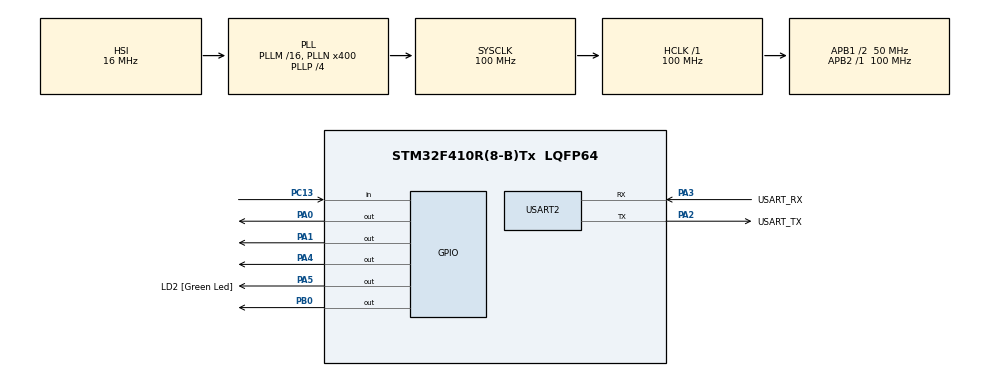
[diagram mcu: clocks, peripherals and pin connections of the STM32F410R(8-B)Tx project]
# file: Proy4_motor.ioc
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Mcu.Family=STM32F4
Mcu.Name=STM32F410R(8-B)Tx
Mcu.Package=LQFP64
NVIC.PriorityGroup=NVIC_PRIORITYGROUP_0
PA0-WKUP.Signal=GPIO_Output
PA1.Signal=GPIO_Output
PA13.GPIO_Label=TMS
PA13.Mode=Serial_Wire
PA13.Signal=SYS_JTMS-SWDIO
PA14.GPIO_Label=TCK
PA14.Mode=Serial_Wire
PA14.Signal=SYS_JTCK-SWCLK
PA2.GPIO_Label=USART_TX
PA2.Mode=Asynchronous
PA2.Signal=USART2_TX
PA3.GPIO_Label=USART_RX
PA3.Mode=Asynchronous
PA3.Signal=USART2_RX
PA4.Signal=GPIO_Output
PA5.GPIO_Label=LD2 [Green Led]
PA5.Signal=GPIO_Output
PB0.Signal=GPIO_Output
PB3.GPIO_Label=SWO
PB3.Signal=SYS_JTDO-SWO
PC13-ANTI_TAMP.Signal=GPIO_Input
PC14-OSC32_IN.Mode=LSE-External-Oscillator
PC14-OSC32_IN.Signal=RCC_OSC32_IN
PC15-OSC32_OUT.Mode=LSE-External-Oscillator
PC15-OSC32_OUT.Signal=RCC_OSC32_OUT
PH0\ -\ OSC_IN.Mode=HSE-External-Clock-Source
PH0\ -\ OSC_IN.Signal=RCC_OSC_IN
PH1\ -\ OSC_OUT.Mode=HSE-External-Clock-Source
PH1\ -\ OSC_OUT.Signal=RCC_OSC_OUT
ProjectManager.HeapSize=0x200
ProjectManager.StackSize=0x400
ProjectManager.TargetToolchain=STM32CubeIDE
RCC.48MHZClocksFreq_Value=100000000
RCC.AHBFreq_Value=100000000
RCC.APB1CLKDivider=RCC_HCLK_DIV2
RCC.APB1Freq_Value=50000000
RCC.APB1TimFreq_Value=100000000
RCC.APB2Freq_Value=100000000
RCC.APB2TimFreq_Value=100000000
RCC.CortexFreq_Value=100000000
RCC.FLatency-AdvancedSettings=FLASH_LATENCY_3
RCC.HCLKFreq_Value=100000000
RCC.HSE_VALUE=8000000
RCC.HSI_VALUE=16000000
RCC.PLLN=400
RCC.PLLP=RCC_PLLP_DIV4
RCC.SYSCLKFreq_VALUE=100000000
RCC.SYSCLKSource=RCC_SYSCLKSOURCE_PLLCLK
RCC.VCOOutputFreq_Value=400000000
USART2.VirtualMode=VM_ASYNC
board=NUCLEO-F410RB

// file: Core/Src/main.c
/* USER CODE BEGIN Header */
/**
  ******************************************************************************
  Practica 4 - Motor a pasos unipolar secuencia simple

  Equipo:
  Antonio Yañez Hernandez
  Cristopher Rodrigues Perez
  Jesus Roberto Hernandez Benitez

  Pines Usados para Configurar:
  PIN_A0, PIN_A1, PIN_A4 Y PIN_B0

  Descripcion:
  Consiste en que el motor de pasos gire en un sentido, pero al presionar
  el boton de la placa gira al contrario y podemos modificar la velocidad del motor.
  ******************************************************************************
  */
/* USER CODE END Header */
#include "main.h"

UART_HandleTypeDef huart2;

/* USER CODE BEGIN PV */
uint16_t retardo;
uint8_t bobina;
uint8_t i;
static const uint8_t estado1[4][4] = {
		{1,0,0,0},//primer paso
		{0,1,0,0},//segundo paso
		{0,0,1,0},//tercer paso
		{0,0,0,1},//cuarto paso
};
static const uint8_t estado2[4][4] = {
		{1,0,0,0},//primer paso
		{0,0,0,1},//segundo paso
		{0,0,1,0},//tercer paso
		{0,1,0,0},//cuarto paso
};

/* USER CODE END PV */

void SystemClock_Config(void);
static void MX_GPIO_Init(void);
static void MX_USART2_UART_Init(void);

int main(void)
{

  /* USER CODE BEGIN 1 */
 	retardo = 3;
  /* USER CODE END 1 */

  /* MCU Configuration--------------------------------------------------------*/

  /* Reset of all peripherals, Initializes the Flash interface and the Systick. */
  HAL_Init();

  /* Configure the system clock */
  SystemClock_Config();

  /* Initialize all configured peripherals */
  MX_GPIO_Init();
  MX_USART2_UART_Init();

  /* Infinite loop */
  /* USER CODE BEGIN WHILE */
  while (1)
  {
	  if(HAL_GPIO_ReadPin(GPIOC, GPIO_PIN_13)==1)//maneja que direccion va a girar el motor
	  {
		  for(i=0;i<4;i++)
		  	  {
		  		  HAL_GPIO_WritePin(GPIOA, GPIO_PIN_0, estado1[i][0]); //define cada estado
		  		  HAL_GPIO_WritePin(GPIOA, GPIO_PIN_1, estado1[i][1]);
		  		  HAL_GPIO_WritePin(GPIOA, GPIO_PIN_4, estado1[i][2]);
		  		  HAL_GPIO_WritePin(GPIOB, GPIO_PIN_0, estado1[i][3]);
		  		  HAL_Delay(retardo);
		  	  }
	  }
	  else
	  {
		  for(i=0;i<4;i++)
		  	  {
		  		  HAL_GPIO_WritePin(GPIOA, GPIO_PIN_0, estado2[i][0]); //define cada estado
		  		  HAL_GPIO_WritePin(GPIOA, GPIO_PIN_1, estado2[i][1]);
		  		  HAL_GPIO_WritePin(GPIOA, GPIO_PIN_4, estado2[i][2]);
		  		  HAL_GPIO_WritePin(GPIOB, GPIO_PIN_0, estado2[i][3]);
		  		  HAL_Delay(retardo);
		  	  }
	  }

    /* USER CODE END WHILE */

  }
}

void SystemClock_Config(void)
{
  RCC_OscInitTypeDef RCC_OscInitStruct = {0};
  RCC_ClkInitTypeDef RCC_ClkInitStruct = {0};

  /** Configure the main internal regulator output voltage
  */
  __HAL_RCC_PWR_CLK_ENABLE();
  __HAL_PWR_VOLTAGESCALING_CONFIG(PWR_REGULATOR_VOLTAGE_SCALE1);

  /** Initializes the RCC Oscillators according to the specified parameters
  * in the RCC_OscInitTypeDef structure.
  */
  RCC_OscInitStruct.OscillatorType = RCC_OSCILLATORTYPE_HSI;
  RCC_OscInitStruct.HSIState = RCC_HSI_ON;
  RCC_OscInitStruct.HSICalibrationValue = RCC_HSICALIBRATION_DEFAULT;
  RCC_OscInitStruct.PLL.PLLState = RCC_PLL_ON;
  RCC_OscInitStruct.PLL.PLLSource = RCC_PLLSOURCE_HSI;
  RCC_OscInitStruct.PLL.PLLM = 16;
  RCC_OscInitStruct.PLL.PLLN = 400;
  RCC_OscInitStruct.PLL.PLLP = RCC_PLLP_DIV4;
  RCC_OscInitStruct.PLL.PLLQ = 4;
  RCC_OscInitStruct.PLL.PLLR = 2;
  if (HAL_RCC_OscConfig(&RCC_OscInitStruct) != HAL_OK)
  {
    Error_Handler();
  }

  /** Initializes the CPU, AHB and APB buses clocks
  */
  RCC_ClkInitStruct.ClockType = RCC_CLOCKTYPE_HCLK|RCC_CLOCKTYPE_SYSCLK
                              |RCC_CLOCKTYPE_PCLK1|RCC_CLOCKTYPE_PCLK2;
  RCC_ClkInitStruct.SYSCLKSource = RCC_SYSCLKSOURCE_PLLCLK;
  RCC_ClkInitStruct.AHBCLKDivider = RCC_SYSCLK_DIV1;
  RCC_ClkInitStruct.APB1CLKDivider = RCC_HCLK_DIV2;
  RCC_ClkInitStruct.APB2CLKDivider = RCC_HCLK_DIV1;

  if (HAL_RCC_ClockConfig(&RCC_ClkInitStruct, FLASH_LATENCY_3) != HAL_OK)
  {
    Error_Handler();
  }
}

static void MX_USART2_UART_Init(void)
{

  huart2.Instance = USART2;
  huart2.Init.BaudRate = 115200;
  huart2.Init.WordLength = UART_WORDLENGTH_8B;
  huart2.Init.StopBits = UART_STOPBITS_1;
  huart2.Init.Parity = UART_PARITY_NONE;
  huart2.Init.Mode = UART_MODE_TX_RX;
  huart2.Init.HwFlowCtl = UART_HWCONTROL_NONE;
  huart2.Init.OverSampling = UART_OVERSAMPLING_16;
  if (HAL_UART_Init(&huart2) != HAL_OK)
  {
    Error_Handler();
  }

}

static void MX_GPIO_Init(void)
{
  GPIO_InitTypeDef GPIO_InitStruct = {0};

  /* GPIO Ports Clock Enable */
  __HAL_RCC_GPIOC_CLK_ENABLE();
  __HAL_RCC_GPIOH_CLK_ENABLE();
  __HAL_RCC_GPIOA_CLK_ENABLE();
  __HAL_RCC_GPIOB_CLK_ENABLE();

  /*Configure GPIO pin Output Level */
  HAL_GPIO_WritePin(GPIOA, GPIO_PIN_0|GPIO_PIN_1|GPIO_PIN_4|LD2_Pin, GPIO_PIN_RESET);

  /*Configure GPIO pin Output Level */
  HAL_GPIO_WritePin(GPIOB, GPIO_PIN_0, GPIO_PIN_RESET);

  /*Configure GPIO pin : PC13 */
  GPIO_InitStruct.Pin = GPIO_PIN_13;
  GPIO_InitStruct.Mode = GPIO_MODE_INPUT;
  GPIO_InitStruct.Pull = GPIO_NOPULL;
  HAL_GPIO_Init(GPIOC, &GPIO_InitStruct);

  /*Configure GPIO pins : PA0 PA1 PA4 LD2_Pin */
  GPIO_InitStruct.Pin = GPIO_PIN_0|GPIO_PIN_1|GPIO_PIN_4|LD2_Pin;
  GPIO_InitStruct.Mode = GPIO_MODE_OUTPUT_PP;
  GPIO_InitStruct.Pull = GPIO_NOPULL;
  GPIO_InitStruct.Speed = GPIO_SPEED_FREQ_LOW;
  HAL_GPIO_Init(GPIOA, &GPIO_InitStruct);

  /*Configure GPIO pin : PB0 */
  GPIO_InitStruct.Pin = GPIO_PIN_0;
  GPIO_InitStruct.Mode = GPIO_MODE_OUTPUT_PP;
  GPIO_InitStruct.Pull = GPIO_NOPULL;
  GPIO_InitStruct.Speed = GPIO_SPEED_FREQ_LOW;
  HAL_GPIO_Init(GPIOB, &GPIO_InitStruct);

}

void Error_Handler(void)
{
  __disable_irq();
  while (1)
  {
  }
}
